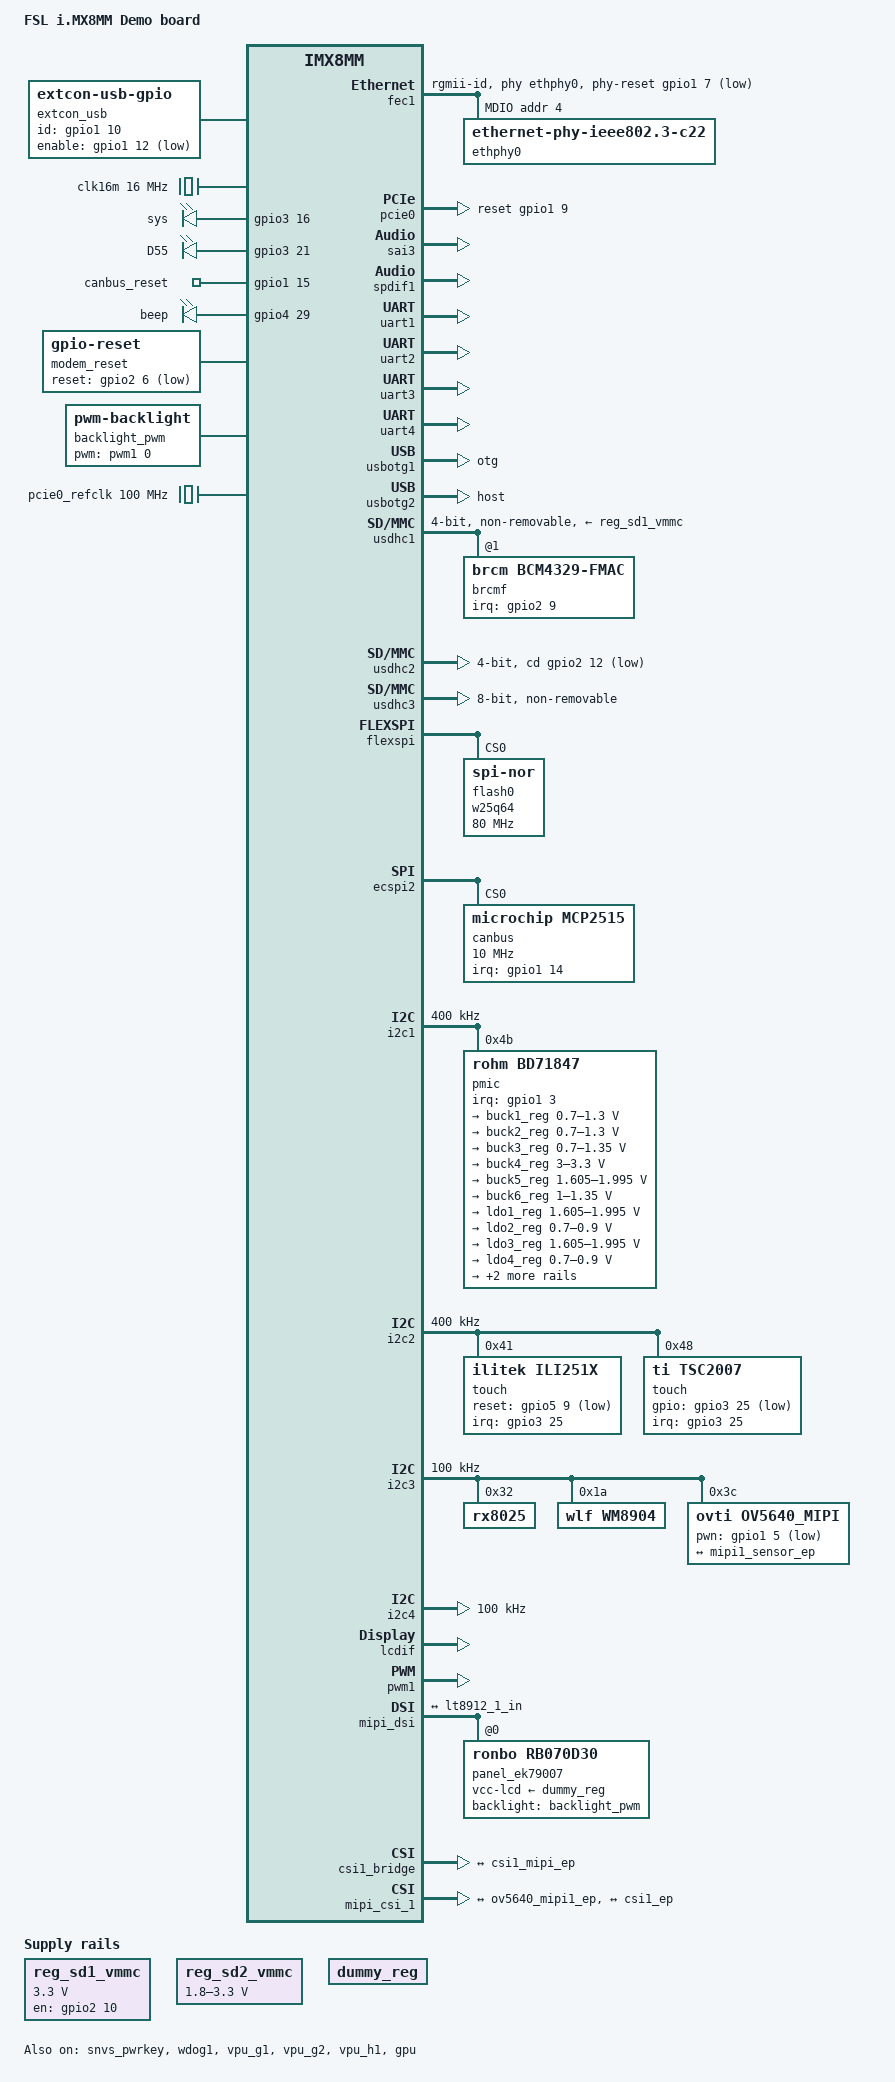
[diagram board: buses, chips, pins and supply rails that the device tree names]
// SPDX-License-Identifier: (GPL-2.0+ OR MIT)
/*
 * Copyright 2019 NXP
 */

/dts-v1/;

#include <dt-bindings/usb/pd.h>
#include "imx8mm.dtsi"

/ {
	model = "FSL i.MX8MM Demo board";
	compatible = "fsl,imx8mm-evk", "fsl,imx8mm";

	reserved-memory {
		#address-cells = <2>;
		#size-cells = <2>;
		ranges;

		rpmsg_reserved: rpmsg@0xb8000000 {
			no-map;
			reg = <0 0xb8000000 0 0x400000>;
		};
	};

	chosen {
		stdout-path = &uart2;
	};

	extcon_usb: extcon_usb1otg {
		compatible = "linux,extcon-usb-gpio";
		pinctrl-names = "default";
		pinctrl-0 = <&pinctrl_extcon_usb>;
		id-gpio = <&gpio1 10 GPIO_ACTIVE_HIGH>;
		enable-gpio = <&gpio1 12 GPIO_ACTIVE_LOW>;
	};

	clk16m: clk16m {
		compatible = "fixed-clock";
		#clock-cells = <0>;
		clock-frequency = <16000000>;
	};

	leds {
		compatible = "gpio-leds";
		pinctrl-names = "default";
		pinctrl-0 = <&pinctrl_gpio_led>;

		sys {
			label = "sys";
			gpios = <&gpio3 16 GPIO_ACTIVE_HIGH>;
			linux,default-trigger = "heartbeat";
		};

		D55 {
			label = "D55";
			gpios = <&gpio3 21 GPIO_ACTIVE_HIGH>;
			linux,default-trigger = "none";
		};

		canbus_reset {
			label = "canbus_reset";
			gpios = <&gpio1 15 GPIO_ACTIVE_HIGH>;
			default-state = "on";
		};

		beep {
			label = "beep";
			gpios = <&gpio4 29 GPIO_ACTIVE_HIGH>;
			default-state = "off";
		};
	};

	modem_reset: modem-reset {
		compatible = "gpio-reset";
		reset-gpios = <&gpio2 6 GPIO_ACTIVE_LOW>;
		reset-delay-us = <2000>;
		reset-post-delay-ms = <40>;
		#reset-cells = <0>;
	};

	regulators {
		compatible = "simple-bus";
		#address-cells = <1>;
		#size-cells = <0>;

		reg_sd1_vmmc: sd1_regulator {
			compatible = "regulator-fixed";
			regulator-name = "WLAN_EN";
			regulator-min-microvolt = <3300000>;
			regulator-max-microvolt = <3300000>;
			gpio = <&gpio2 10 GPIO_ACTIVE_HIGH>;
			off-on-delay = <20000>;
			startup-delay-us = <100>;
			enable-active-high;
		};

		reg_sd2_vmmc: sd2_regulator {
			compatible = "regulator-fixed";
			regulator-name = "NVCC_SD2";
			regulator-min-microvolt = <1800000>;
			regulator-max-microvolt = <3300000>;
		};

		dummy_reg: dummy_regulator {
			compatible = "regulator-fixed";
			regulator-name = "dummy";
		};
	};

	backlight_pwm: backlight {
		compatible = "pwm-backlight";
		pwms = <&pwm1 0 500000 0>;
		brightness-levels = <0 1 8 32 64 96 128 160 192 224 255>;
		default-brightness-level = <8>;
	};

	sound-wm8904 {
		compatible = "fsl,imx-audio-wm8904";
		model = "wm8904-audio";
		cpu-dai = <&sai3>;
		audio-codec = <&wm8904>;
		asrc-controller;
		gpr = <&gpr>;
		audio-routing =
			"Headphone Jack", "HPOUTL",
			"Headphone Jack", "HPOUTR",
			"IN2L", "Line In Jack",
			"IN2R", "Line In Jack",
			"Mic Jack", "MICBIAS",
			"IN1L", "Mic Jack";
	};

	sound-spdif {
		compatible = "fsl,imx-audio-spdif";
		model = "imx-spdif";
		spdif-controller = <&spdif1>;
		spdif-out;
		spdif-in;
	};

	pcie0_refclk: pcie0-refclk {
		compatible = "fixed-clock";
		#clock-cells = <0>;
		clock-frequency = <100000000>;
	};
};

&A53_0 {
	cpu-supply = <&buck2_reg>;
};

&fec1 {
	pinctrl-names = "default";
	pinctrl-0 = <&pinctrl_fec1>;
	phy-mode = "rgmii-id";
	phy-handle = <&ethphy0>;
	phy-reset-gpios = <&gpio1 7 GPIO_ACTIVE_LOW>;
	phy-reset-post-delay = <300>;
	phy-reset-duration = <80>;
	fsl,magic-packet;
	status = "okay";

	mdio {
		#address-cells = <1>;
		#size-cells = <0>;

		ethphy0: ethernet-phy@4 {
			compatible = "ethernet-phy-ieee802.3-c22";
			reg = <4>;
			at803x,eee-disabled;
			at803x,vddio-1p8v;
		};
	};
};

&pcie0 {
	pinctrl-names = "default";
	pinctrl-0 = <&pinctrl_pcie0>;
	clkreq-gpio = <&gpio3 24 GPIO_ACTIVE_LOW>;
	disable-gpio = <&gpio1 8 GPIO_ACTIVE_LOW>;
	reset-gpio = <&gpio1 9 GPIO_ACTIVE_HIGH>;
	reset-gpio-active-high;
	clocks = <&clk IMX8MM_CLK_PCIE1_ROOT>,
		 <&clk IMX8MM_CLK_PCIE1_AUX>,
		 <&clk IMX8MM_CLK_PCIE1_PHY>,
		 <&pcie0_refclk>;
	clock-names = "pcie", "pcie_aux", "pcie_phy", "pcie_bus";
	ext_osc = <1>;
	reserved-region = <&rpmsg_reserved>;
	status = "okay";
};

&sai3 {
	pinctrl-names = "default";
	pinctrl-0 = <&pinctrl_sai3>;
	assigned-clocks = <&clk IMX8MM_CLK_SAI3>;
	assigned-clock-parents = <&clk IMX8MM_AUDIO_PLL1_OUT>;
	assigned-clock-rates = <24576000>;
	status = "okay";
};

&spdif1 {
	pinctrl-names = "default";
	pinctrl-0 = <&pinctrl_spdif1>;
	assigned-clocks = <&clk IMX8MM_CLK_SPDIF1>;
	assigned-clock-parents = <&clk IMX8MM_AUDIO_PLL1_OUT>;
	assigned-clock-rates = <24576000>;
	clocks = <&clk IMX8MM_CLK_AUDIO_AHB>, <&clk IMX8MM_CLK_24M>,
		<&clk IMX8MM_CLK_SPDIF1>, <&clk IMX8MM_CLK_DUMMY>,
		<&clk IMX8MM_CLK_DUMMY>, <&clk IMX8MM_CLK_DUMMY>,
		<&clk IMX8MM_CLK_AUDIO_AHB>, <&clk IMX8MM_CLK_DUMMY>,
		<&clk IMX8MM_CLK_DUMMY>, <&clk IMX8MM_CLK_DUMMY>,
		<&clk IMX8MM_AUDIO_PLL1_OUT>, <&clk IMX8MM_AUDIO_PLL2_OUT>;
	clock-names = "core", "rxtx0", "rxtx1", "rxtx2", "rxtx3",
		"rxtx4", "rxtx5", "rxtx6", "rxtx7", "spba", "pll8k", "pll11k";
	status = "okay";
};

&snvs_pwrkey {
	status = "okay";
};

&uart1 { /* BT */
	pinctrl-names = "default";
	pinctrl-0 = <&pinctrl_uart1>;
	assigned-clocks = <&clk IMX8MM_CLK_UART1>;
	assigned-clock-parents = <&clk IMX8MM_SYS_PLL1_80M>;
	fsl,uart-has-rtscts;
	resets = <&modem_reset>;
	status = "okay";
};

&uart2 { /* console */
	pinctrl-names = "default";
	pinctrl-0 = <&pinctrl_uart2>;
	status = "okay";
};

&uart3 {
	pinctrl-names = "default";
	pinctrl-0 = <&pinctrl_uart3>;
	assigned-clocks = <&clk IMX8MM_CLK_UART3>;
	assigned-clock-parents = <&clk IMX8MM_SYS_PLL1_80M>;
	fsl,uart-has-rtscts;
	status = "okay";
};

&uart4 {
	pinctrl-names = "default";
	pinctrl-0 = <&pinctrl_uart4>;
	/delete-property/ dmas;
	/delete-property/ dmas-names;
	status = "okay";
};

&usbotg1 {
	dr_mode = "otg";
	extcon = <&extcon_usb>;
	picophy,pre-emp-curr-control = <3>;
	picophy,dc-vol-level-adjust = <7>;
	status = "okay";
};

&usbotg2 {
	dr_mode = "host";
	status = "okay";
};

/* WIFI SDIO */
&usdhc1 {
	pinctrl-names = "default", "state_100mhz", "state_200mhz";
	pinctrl-0 = <&pinctrl_usdhc1>, <&pinctrl_usdhc1_gpio>;
	pinctrl-1 = <&pinctrl_usdhc1_100mhz>, <&pinctrl_usdhc1_gpio>;
	pinctrl-2 = <&pinctrl_usdhc1_200mhz>, <&pinctrl_usdhc1_gpio>;
	bus-width = <4>;
	vmmc-supply = <&reg_sd1_vmmc>;
	pm-ignore-notify;
	keep-power-in-suspend;
	non-removable;
	status = "okay";

	#address-cells = <1>;
	#size-cells = <0>;
	brcmf: bcrmf@1 {
		reg = <1>;
		compatible = "brcm,bcm4329-fmac";
		interrupt-parent = <&gpio2>;
		interrupts = <9 IRQ_TYPE_LEVEL_LOW>;
		interrupt-names = "host-wake";
	};
};

/* microSD */
&usdhc2 {
	pinctrl-names = "default";	/* "state_100mhz", "state_200mhz"; */
	pinctrl-0 = <&pinctrl_usdhc2>, <&pinctrl_usdhc2_gpio>;
	/*
	pinctrl-1 = <&pinctrl_usdhc2_100mhz>, <&pinctrl_usdhc2_gpio>;
	pinctrl-2 = <&pinctrl_usdhc2_200mhz>, <&pinctrl_usdhc2_gpio>;
	*/
	cd-gpios = <&gpio2 12 GPIO_ACTIVE_LOW>;
	bus-width = <4>;
	status = "okay";
};

/* eMMC */
&usdhc3 {
	pinctrl-names = "default", "state_100mhz", "state_200mhz";
	pinctrl-0 = <&pinctrl_usdhc3>;
	pinctrl-1 = <&pinctrl_usdhc3_100mhz>;
	pinctrl-2 = <&pinctrl_usdhc3_200mhz>;
	bus-width = <8>;
	non-removable;
	status = "okay";
};

&wdog1 {
	pinctrl-names = "default";
	pinctrl-0 = <&pinctrl_wdog>;
	fsl,ext-reset-output;
	status = "okay";
};

&flexspi {
	pinctrl-names = "default";
	pinctrl-0 = <&pinctrl_flexspi0>;
	status = "okay";

	flash0: w25q64@0 {
		reg = <0>;
		#address-cells = <1>;
		#size-cells = <1>;
		compatible = "jedec,spi-nor";
		spi-max-frequency = <80000000>;
		spi-tx-bus-width = <4>;
		spi-rx-bus-width = <4>;
	};
};

&ecspi2 {
	pinctrl-names = "default";
	pinctrl-0 = <&pinctrl_ecspi2>;
	status = "okay";

	canbus: mcp2515@0 {
		compatible = "microchip,mcp2515";
		pinctrl-names = "default";
		pinctrl-0 = <&pinctrl_canbus>;
		reg = <0>;
		clocks = <&clk16m>;
		interrupt-parent = <&gpio1>;
		interrupts = <14 IRQ_TYPE_EDGE_FALLING>;
		spi-max-frequency = <10000000>;
		status = "okay";
	};
};

&i2c1 {
	clock-frequency = <400000>;
	pinctrl-names = "default";
	pinctrl-0 = <&pinctrl_i2c1>;
	status = "okay";

	pmic@4b {
		compatible = "rohm,bd71847";
		reg = <0x4b>;
		pinctrl-0 = <&pinctrl_pmic>;
		interrupt-parent = <&gpio1>;
		interrupts = <3 GPIO_ACTIVE_LOW>;
		rohm,reset-snvs-powered;

		regulators {
			buck1_reg: BUCK1 {
				regulator-name = "BUCK1";
				regulator-min-microvolt = <700000>;
				regulator-max-microvolt = <1300000>;
				regulator-boot-on;
				regulator-always-on;
				regulator-ramp-delay = <1250>;
			};

			buck2_reg: BUCK2 {
				regulator-name = "BUCK2";
				regulator-min-microvolt = <700000>;
				regulator-max-microvolt = <1300000>;
				regulator-boot-on;
				regulator-always-on;
				regulator-ramp-delay = <1250>;
				rohm,dvs-run-voltage = <1000000>;
				rohm,dvs-idle-voltage = <900000>;
			};

			buck3_reg: BUCK3 {
				// BUCK5 in datasheet
				regulator-name = "BUCK3";
				regulator-min-microvolt = <700000>;
				regulator-max-microvolt = <1350000>;
				regulator-boot-on;
				regulator-always-on;
			};

			buck4_reg: BUCK4 {
				// BUCK6 in datasheet
				regulator-name = "BUCK4";
				regulator-min-microvolt = <3000000>;
				regulator-max-microvolt = <3300000>;
				regulator-boot-on;
				regulator-always-on;
			};

			buck5_reg: BUCK5 {
				// BUCK7 in datasheet
				regulator-name = "BUCK5";
				regulator-min-microvolt = <1605000>;
				regulator-max-microvolt = <1995000>;
				regulator-boot-on;
				regulator-always-on;
			};

			buck6_reg: BUCK6 {
				// BUCK8 in datasheet
				regulator-name = "BUCK6";
				regulator-min-microvolt = <1000000>;
				regulator-max-microvolt = <1350000>;
				regulator-boot-on;
				regulator-always-on;
			};

			ldo1_reg: LDO1 {
				regulator-name = "LDO1";
				regulator-min-microvolt = <1605000>;
				regulator-max-microvolt = <1995000>;
				regulator-boot-on;
				regulator-always-on;
			};

			ldo2_reg: LDO2 {
				regulator-name = "LDO2";
				regulator-min-microvolt = <700000>;
				regulator-max-microvolt = <900000>;
				regulator-boot-on;
				regulator-always-on;
			};

			ldo3_reg: LDO3 {
				regulator-name = "LDO3";
				regulator-min-microvolt = <1605000>;
				regulator-max-microvolt = <1995000>;
				regulator-boot-on;
				regulator-always-on;
			};

			ldo4_reg: LDO4 {
				regulator-name = "LDO4";
				regulator-min-microvolt = <700000>;
				regulator-max-microvolt = <900000>;
				regulator-boot-on;
				regulator-always-on;
			};

			ldo5_reg: LDO5 {
				regulator-name = "LDO5";
				regulator-min-microvolt = <2400000>;
				regulator-max-microvolt = <2600000>;
				regulator-boot-on;
				regulator-always-on;
			};

			ldo6_reg: LDO6 {
				regulator-name = "LDO6";
				regulator-min-microvolt = <1100000>;
				regulator-max-microvolt = <1300000>;
				regulator-boot-on;
				regulator-always-on;
			};
		};
	};
};

&i2c2 {
	clock-frequency = <400000>;
	pinctrl-names = "default";
	pinctrl-0 = <&pinctrl_i2c2>;
	status = "okay";

	touch@41 {
		compatible = "ilitek,ili251x";
		reg = <0x41>;
		pinctrl-names = "default";
		pinctrl-0 = <&pinctrl_touch>;
		reset-gpio = <&gpio5 9 GPIO_ACTIVE_LOW>;
		interrupt-parent = <&gpio3>;
		interrupts = <25 IRQ_TYPE_EDGE_FALLING>;
		interrupt-names = "touch-irq";
		status = "okay";
	};

	touch@48 {
		compatible = "ti,tsc2007";
		reg = <0x48>;
		pinctrl-names = "default";
		pinctrl-0 = <&pinctrl_touch>;
		interrupt-parent = <&gpio3>;
		interrupts = <25 IRQ_TYPE_NONE>;
		gpios = <&gpio3 25 GPIO_ACTIVE_LOW>;
		ti,x-plate-ohms = <660>;
		status = "okay";
	};
};

&snvs_rtc {
	status = "disabled";
};

&i2c3 {
	clock-frequency = <100000>;
	pinctrl-names = "default";
	pinctrl-0 = <&pinctrl_i2c3>;
	status = "okay";

	rx8025: rtc@32 {
		compatible = "rx8025";
		reg = <0x32>;
	};

	wm8904: wm8904@1a {
		compatible = "wlf,wm8904";
		reg = <0x1a>;
		clocks = <&clk IMX8MM_CLK_SAI3_ROOT>;
		clock-names = "mclk";
	};

	ov5640_mipi: ov5640_mipi@3c {
		compatible = "ovti,ov5640_mipi";
		reg = <0x3c>;
		status = "okay";
		pinctrl-names = "default";
		pinctrl-0 = <&pinctrl_csi_pwn>;
		clocks = <&clk IMX8MM_CLK_CLKO1>;
		clock-names = "csi_mclk";
		assigned-clocks = <&clk IMX8MM_CLK_CLKO1>;
		assigned-clock-parents = <&clk IMX8MM_CLK_24M>;
		assigned-clock-rates = <24000000>;
		csi_id = <0>;
		pwn-gpios = <&gpio1 5 GPIO_ACTIVE_LOW>;
		mclk = <24000000>;
		mclk_source = <0>;
		port {
			ov5640_mipi1_ep: endpoint {
				remote-endpoint = <&mipi1_sensor_ep>;
			};
		};
	};
};

&i2c4 {
	clock-frequency = <100000>;
	pinctrl-names = "default";
	pinctrl-0 = <&pinctrl_i2c4>;
	status = "okay";

	hdmi_bridge: lt8912b@48 {
		#address-cells = <1>;
		#size-cells = <0>;
		compatible = "lontium,lt8912";
		reg = <0x48>;
		lontium,dsi-lanes = <4>;
		vdd1-supply = <&dummy_reg>;
		no-hpd;
		no-edid;
		status = "disabled";

		port {
			lt8912_1_in: endpoint {
				remote-endpoint = <&mipi_dsi_hdmi_out>;
			};
		};

		display_timings: display-timings {
			native-mode = <&timing0>;

			/* 1920 * 1080 MIPI */
			timing0: 1920x1080 {
				clock-frequency = <148500000>;
				hactive = <1920>;
				vactive = <1080>;
				hfront-porch = <88>;
				hsync-len = <44>;
				hback-porch = <148>;
				vfront-porch = <36>;
				vsync-len = <5>;
				vback-porch = <4>;
				hsync-active = <0>;
				vsync-active = <0>;
				de-active = <0>;
				pixelclk-active = <0>;
			};

			/* 1280 * 720 MIPI */
			timing1: 1280x720 {
				clock-frequency = <74250000>;
				hactive = <1280>;
				vactive = <720>;
				hfront-porch = <110>;
				hsync-len = <40>;
				hback-porch = <220>;
				vfront-porch = <5>;
				vsync-len = <5>;
				vback-porch = <20>;
				hsync-active = <0>;
				vsync-active = <0>;
				de-active = <0>;
				pixelclk-active = <0>;
			};

			/* 1280 * 800 MIPI */
			timing2: 1280x800 {
				clock-frequency = <71000000>;
				hactive = <1280>;
				vactive = <800>;
				hfront-porch = <48>;
				hsync-len = <32>;
				hback-porch = <80>;
				vfront-porch = <3>;
				vsync-len = <6>;
				vback-porch = <14>;
				hsync-active = <0>;
				vsync-active = <0>;
				de-active = <0>;
				pixelclk-active = <0>;
			};

			timing3: 1024x600 {
				clock-frequency = <51250000>;
				hactive = <1024>;
				vactive = <600>;
				hfront-porch = <160>;
				hsync-len = <20>;
				hback-porch = <140>;
				vfront-porch = <12>;
				vsync-len = <3>;
				vback-porch = <20>;
				hsync-active = <0>;
				vsync-active = <0>;
				de-active = <0>;
				pixelclk-active = <0>;
			};

			/* 1280 * 800 LVDS[VISLCD-101WX1RT13] */
			timing4: 1280x800-VISLCD-101WX1R {
				clock-frequency = <55000000>;
				hactive = <1280>;
				vactive = <800>;
				hfront-porch = <25>;
				hsync-len = <20>;
				hback-porch = <5>;
				vfront-porch = <6>;
				vsync-len = <3>;
				vback-porch = <3>;
				hsync-active = <0>;
				vsync-active = <0>;
				de-active = <0>;
				pixelclk-active = <0>;
			};
		};
	};
};

&iomuxc {
	pinctrl-names = "default";
	pinctrl-0 = <&pinctrl_default>;

	pinctrl_default: default {
		fsl,pins = <
			MX8MM_IOMUXC_SAI5_RXD2_GPIO3_IO23				0x19	/* DI0 */
			MX8MM_IOMUXC_SAI5_RXC_GPIO3_IO20				0x19	/* DI1 */
			MX8MM_IOMUXC_SAI5_RXFS_GPIO3_IO19				0x19	/* DO0 */
			MX8MM_IOMUXC_SAI5_RXD1_GPIO3_IO22				0x19	/* DO1 */
		>;
	};

	pinctrl_fec1: fec1grp {
		fsl,pins = <
			MX8MM_IOMUXC_ENET_MDC_ENET1_MDC				0x3
			MX8MM_IOMUXC_ENET_MDIO_ENET1_MDIO			0x3
			MX8MM_IOMUXC_ENET_TD3_ENET1_RGMII_TD3		0x1f
			MX8MM_IOMUXC_ENET_TD2_ENET1_RGMII_TD2		0x1f
			MX8MM_IOMUXC_ENET_TD1_ENET1_RGMII_TD1		0x1f
			MX8MM_IOMUXC_ENET_TD0_ENET1_RGMII_TD0		0x1f
			MX8MM_IOMUXC_ENET_RD3_ENET1_RGMII_RD3		0x91
			MX8MM_IOMUXC_ENET_RD2_ENET1_RGMII_RD2		0x91
			MX8MM_IOMUXC_ENET_RD1_ENET1_RGMII_RD1		0x91
			MX8MM_IOMUXC_ENET_RD0_ENET1_RGMII_RD0		0x91
			MX8MM_IOMUXC_ENET_TXC_ENET1_RGMII_TXC		0x1f
			MX8MM_IOMUXC_ENET_RXC_ENET1_RGMII_RXC		0x91
			MX8MM_IOMUXC_ENET_RX_CTL_ENET1_RGMII_RX_CTL	0x91
			MX8MM_IOMUXC_ENET_TX_CTL_ENET1_RGMII_TX_CTL	0x1f
			MX8MM_IOMUXC_GPIO1_IO07_GPIO1_IO7			0x19
		>;
	};

	pinctrl_flexspi0: flexspi0grp {
		fsl,pins = <
			MX8MM_IOMUXC_NAND_ALE_QSPI_A_SCLK          	0x1c2
			MX8MM_IOMUXC_NAND_CE0_B_QSPI_A_SS0_B       	0x82
			MX8MM_IOMUXC_NAND_DATA00_QSPI_A_DATA0      	0x82
			MX8MM_IOMUXC_NAND_DATA01_QSPI_A_DATA1      	0x82
			MX8MM_IOMUXC_NAND_DATA02_QSPI_A_DATA2      	0x82
			MX8MM_IOMUXC_NAND_DATA03_QSPI_A_DATA3      	0x82
		>;
	};

	pinctrl_ecspi2: ecspi2grp {
		fsl,pins = <
			MX8MM_IOMUXC_ECSPI2_SS0_ECSPI2_SS0			0x82
			MX8MM_IOMUXC_ECSPI2_MOSI_ECSPI2_MOSI		0x82
			MX8MM_IOMUXC_ECSPI2_MISO_ECSPI2_MISO		0x82
			MX8MM_IOMUXC_ECSPI2_SCLK_ECSPI2_SCLK		0x82
		>;
	};

	pinctrl_canbus: canbusgrp {
		fsl,pins = <
			MX8MM_IOMUXC_GPIO1_IO14_GPIO1_IO14			0x14
		>;
	};

	pinctrl_gpio_led: gpioledgrp {
		fsl,pins = <
			MX8MM_IOMUXC_NAND_READY_B_GPIO3_IO16		0x19
			MX8MM_IOMUXC_SAI5_RXD0_GPIO3_IO21			0x19
			MX8MM_IOMUXC_GPIO1_IO15_GPIO1_IO15			0x19	/* canbus_reset */
			MX8MM_IOMUXC_SAI3_RXC_GPIO4_IO29			0x19	/* beep */
		>;
	};

	pinctrl_extcon_usb: extconusbgrp {
		fsl,pins = <
			MX8MM_IOMUXC_GPIO1_IO10_GPIO1_IO10			0x140	/* otg_id */
			MX8MM_IOMUXC_GPIO1_IO12_GPIO1_IO12			0x19	/* otg_vbus */
		>;
	};

	pinctrl_i2c1: i2c1grp {
		fsl,pins = <
			MX8MM_IOMUXC_I2C1_SCL_I2C1_SCL				0x400001c3
			MX8MM_IOMUXC_I2C1_SDA_I2C1_SDA				0x400001c3
		>;
	};

	pinctrl_i2c2: i2c2grp {
		fsl,pins = <
			MX8MM_IOMUXC_I2C2_SCL_I2C2_SCL				0x400001c3
			MX8MM_IOMUXC_I2C2_SDA_I2C2_SDA				0x400001c3
		>;
	};

	pinctrl_i2c3: i2c3grp {
		fsl,pins = <
			MX8MM_IOMUXC_I2C3_SCL_I2C3_SCL				0x400001c3
			MX8MM_IOMUXC_I2C3_SDA_I2C3_SDA				0x400001c3
		>;
	};

	pinctrl_i2c4: i2c4grp {
		fsl,pins = <
			MX8MM_IOMUXC_I2C4_SCL_I2C4_SCL				0x400001c3
			MX8MM_IOMUXC_I2C4_SDA_I2C4_SDA				0x400001c3
		>;
	};

	pinctrl_touch: touchgrp {
		fsl,pins = <
			MX8MM_IOMUXC_ECSPI1_SS0_GPIO5_IO9			0x19
			MX8MM_IOMUXC_SAI5_MCLK_GPIO3_IO25			0x19
		>;
	};

	pinctrl_pwm1: pwm1grp {
		fsl,pins = <
			MX8MM_IOMUXC_SPDIF_EXT_CLK_PWM1_OUT			0x19
		>;
	};

	pinctrl_pcie0: pcie0grp {
		fsl,pins = <
			MX8MM_IOMUXC_SAI5_RXD3_GPIO3_IO24			0x61 /* open drain, pull up */
			MX8MM_IOMUXC_GPIO1_IO08_GPIO1_IO8			0x19
			MX8MM_IOMUXC_GPIO1_IO09_GPIO1_IO9			0x19
		>;
	};

	pinctrl_pmic: pmicirq {
		fsl,pins = <
			MX8MM_IOMUXC_GPIO1_IO03_GPIO1_IO3			0x41
		>;
	};

	pinctrl_sai3: sai3grp {
		fsl,pins = <
			MX8MM_IOMUXC_SAI3_TXFS_SAI3_TX_SYNC     	0xd6
			MX8MM_IOMUXC_SAI3_TXC_SAI3_TX_BCLK      	0xd6
			MX8MM_IOMUXC_SAI3_MCLK_SAI3_MCLK        	0xd6
			MX8MM_IOMUXC_SAI3_TXD_SAI3_TX_DATA0     	0xd6
			MX8MM_IOMUXC_SAI3_RXD_SAI3_RX_DATA0			0xd6
		>;
	};

	pinctrl_spdif1: spdif1grp {
		fsl,pins = <
			MX8MM_IOMUXC_SPDIF_TX_SPDIF1_OUT			0xd6
		>;
	};

	pinctrl_uart1: uart1grp {
		fsl,pins = <
			MX8MM_IOMUXC_UART1_RXD_UART1_DCE_RX			0x140
			MX8MM_IOMUXC_UART1_TXD_UART1_DCE_TX			0x140
			MX8MM_IOMUXC_UART3_RXD_UART1_DCE_CTS_B		0x140
			MX8MM_IOMUXC_UART3_TXD_UART1_DCE_RTS_B		0x140
			MX8MM_IOMUXC_SD1_DATA4_GPIO2_IO6			0x19
		>;
	};

	pinctrl_uart2: uart2grp {
		fsl,pins = <
			MX8MM_IOMUXC_UART2_RXD_UART2_DCE_RX			0x140
			MX8MM_IOMUXC_UART2_TXD_UART2_DCE_TX			0x140
		>;
	};

	pinctrl_uart3: uart3grp {
		fsl,pins = <
			MX8MM_IOMUXC_ECSPI1_SCLK_UART3_DCE_RX		0x140
			MX8MM_IOMUXC_ECSPI1_MOSI_UART3_DCE_TX		0x140
			MX8MM_IOMUXC_ECSPI1_MISO_UART3_DCE_CTS_B	0x140
		>;
	};

	pinctrl_uart4: uart4grp {
		fsl,pins = <
			MX8MM_IOMUXC_UART4_RXD_UART4_DCE_RX			0x140
			MX8MM_IOMUXC_UART4_TXD_UART4_DCE_TX			0x140
		>;
	};

	pinctrl_usdhc1_gpio: usdhc1grpgpio {
		fsl,pins = <
			MX8MM_IOMUXC_SD1_RESET_B_GPIO2_IO10			0x41	/* wl_reg_on */
			MX8MM_IOMUXC_SD1_DATA7_GPIO2_IO9			0x41	/* wl_host_wake */
			MX8MM_IOMUXC_GPIO1_IO00_ANAMIX_REF_CLK_32K	0x141	/* LP0: 32KHz */
		>;
	};

	pinctrl_usdhc1: usdhc1grp {
		fsl,pins = <
			MX8MM_IOMUXC_SD1_CLK_USDHC1_CLK				0x190
			MX8MM_IOMUXC_SD1_CMD_USDHC1_CMD				0x1d0
			MX8MM_IOMUXC_SD1_DATA0_USDHC1_DATA0			0x1d0
			MX8MM_IOMUXC_SD1_DATA1_USDHC1_DATA1			0x1d0
			MX8MM_IOMUXC_SD1_DATA2_USDHC1_DATA2			0x1d0
			MX8MM_IOMUXC_SD1_DATA3_USDHC1_DATA3			0x1d0
		>;
	};

	pinctrl_usdhc1_100mhz: usdhc1grp100mhz {
		fsl,pins = <
			MX8MM_IOMUXC_SD1_CLK_USDHC1_CLK		0x194
			MX8MM_IOMUXC_SD1_CMD_USDHC1_CMD		0x1d4
			MX8MM_IOMUXC_SD1_DATA0_USDHC1_DATA0	0x1d4
			MX8MM_IOMUXC_SD1_DATA1_USDHC1_DATA1	0x1d4
			MX8MM_IOMUXC_SD1_DATA2_USDHC1_DATA2	0x1d4
			MX8MM_IOMUXC_SD1_DATA3_USDHC1_DATA3	0x1d4
		>;
	};

	pinctrl_usdhc1_200mhz: usdhc1grp200mhz {
		fsl,pins = <
			MX8MM_IOMUXC_SD1_CLK_USDHC1_CLK		0x196
			MX8MM_IOMUXC_SD1_CMD_USDHC1_CMD		0x1d6
			MX8MM_IOMUXC_SD1_DATA0_USDHC1_DATA0	0x1d6
			MX8MM_IOMUXC_SD1_DATA1_USDHC1_DATA1	0x1d6
			MX8MM_IOMUXC_SD1_DATA2_USDHC1_DATA2	0x1d6
			MX8MM_IOMUXC_SD1_DATA3_USDHC1_DATA3	0x1d6
		>;
	};

	pinctrl_usdhc2_gpio: usdhc2grpgpio {
		fsl,pins = <
			MX8MM_IOMUXC_SD2_CD_B_GPIO2_IO12			0x1c4
		>;
	};

	pinctrl_usdhc2: usdhc2grp {
		fsl,pins = <
			MX8MM_IOMUXC_SD2_CLK_USDHC2_CLK		0x190
			MX8MM_IOMUXC_SD2_CMD_USDHC2_CMD		0x1d0
			MX8MM_IOMUXC_SD2_DATA0_USDHC2_DATA0	0x1d0
			MX8MM_IOMUXC_SD2_DATA1_USDHC2_DATA1	0x1d0
			MX8MM_IOMUXC_SD2_DATA2_USDHC2_DATA2	0x1d0
			MX8MM_IOMUXC_SD2_DATA3_USDHC2_DATA3	0x1d0
		>;
	};

	pinctrl_usdhc2_100mhz: usdhc2grp100mhz {
		fsl,pins = <
			MX8MM_IOMUXC_SD2_CLK_USDHC2_CLK		0x194
			MX8MM_IOMUXC_SD2_CMD_USDHC2_CMD		0x1d4
			MX8MM_IOMUXC_SD2_DATA0_USDHC2_DATA0	0x1d4
			MX8MM_IOMUXC_SD2_DATA1_USDHC2_DATA1	0x1d4
			MX8MM_IOMUXC_SD2_DATA2_USDHC2_DATA2	0x1d4
			MX8MM_IOMUXC_SD2_DATA3_USDHC2_DATA3	0x1d4
		>;
	};

	pinctrl_usdhc2_200mhz: usdhc2grp200mhz {
		fsl,pins = <
			MX8MM_IOMUXC_SD2_CLK_USDHC2_CLK		0x196
			MX8MM_IOMUXC_SD2_CMD_USDHC2_CMD		0x1d6
			MX8MM_IOMUXC_SD2_DATA0_USDHC2_DATA0	0x1d6
			MX8MM_IOMUXC_SD2_DATA1_USDHC2_DATA1	0x1d6
			MX8MM_IOMUXC_SD2_DATA2_USDHC2_DATA2	0x1d6
			MX8MM_IOMUXC_SD2_DATA3_USDHC2_DATA3	0x1d6
		>;
	};

	pinctrl_usdhc3: usdhc3grp {
		fsl,pins = <
			MX8MM_IOMUXC_NAND_WE_B_USDHC3_CLK		0x190
			MX8MM_IOMUXC_NAND_WP_B_USDHC3_CMD		0x1d0
			MX8MM_IOMUXC_NAND_DATA04_USDHC3_DATA0		0x1d0
			MX8MM_IOMUXC_NAND_DATA05_USDHC3_DATA1		0x1d0
			MX8MM_IOMUXC_NAND_DATA06_USDHC3_DATA2		0x1d0
			MX8MM_IOMUXC_NAND_DATA07_USDHC3_DATA3		0x1d0
			MX8MM_IOMUXC_NAND_RE_B_USDHC3_DATA4		0x1d0
			MX8MM_IOMUXC_NAND_CE2_B_USDHC3_DATA5		0x1d0
			MX8MM_IOMUXC_NAND_CE3_B_USDHC3_DATA6		0x1d0
			MX8MM_IOMUXC_NAND_CLE_USDHC3_DATA7		0x1d0
			MX8MM_IOMUXC_NAND_CE1_B_USDHC3_STROBE 		0x190
		>;
	};

	pinctrl_usdhc3_100mhz: usdhc3grp100mhz {
		fsl,pins = <
			MX8MM_IOMUXC_NAND_WE_B_USDHC3_CLK		0x194
			MX8MM_IOMUXC_NAND_WP_B_USDHC3_CMD		0x1d4
			MX8MM_IOMUXC_NAND_DATA04_USDHC3_DATA0		0x1d4
			MX8MM_IOMUXC_NAND_DATA05_USDHC3_DATA1		0x1d4
			MX8MM_IOMUXC_NAND_DATA06_USDHC3_DATA2		0x1d4
			MX8MM_IOMUXC_NAND_DATA07_USDHC3_DATA3		0x1d4
			MX8MM_IOMUXC_NAND_RE_B_USDHC3_DATA4		0x1d4
			MX8MM_IOMUXC_NAND_CE2_B_USDHC3_DATA5		0x1d4
			MX8MM_IOMUXC_NAND_CE3_B_USDHC3_DATA6		0x1d4
			MX8MM_IOMUXC_NAND_CLE_USDHC3_DATA7		0x1d4
			MX8MM_IOMUXC_NAND_CE1_B_USDHC3_STROBE 		0x194
		>;
	};

	pinctrl_usdhc3_200mhz: usdhc3grp200mhz {
		fsl,pins = <
			MX8MM_IOMUXC_NAND_WE_B_USDHC3_CLK		0x196
			MX8MM_IOMUXC_NAND_WP_B_USDHC3_CMD		0x1d6
			MX8MM_IOMUXC_NAND_DATA04_USDHC3_DATA0		0x1d6
			MX8MM_IOMUXC_NAND_DATA05_USDHC3_DATA1		0x1d6
			MX8MM_IOMUXC_NAND_DATA06_USDHC3_DATA2		0x1d6
			MX8MM_IOMUXC_NAND_DATA07_USDHC3_DATA3		0x1d6
			MX8MM_IOMUXC_NAND_RE_B_USDHC3_DATA4		0x1d6
			MX8MM_IOMUXC_NAND_CE2_B_USDHC3_DATA5		0x1d6
			MX8MM_IOMUXC_NAND_CE3_B_USDHC3_DATA6		0x1d6
			MX8MM_IOMUXC_NAND_CLE_USDHC3_DATA7		0x1d6
			MX8MM_IOMUXC_NAND_CE1_B_USDHC3_STROBE 		0x196
		>;
	};

	pinctrl_wdog: wdoggrp {
		fsl,pins = <
			MX8MM_IOMUXC_GPIO1_IO02_WDOG1_WDOG_B			0xc6
		>;
	};

	pinctrl_csi_pwn: csi_pwn_grp {
		fsl,pins = <
			MX8MM_IOMUXC_GPIO1_IO05_GPIO1_IO5			0x19
		>;
	};
};

&lcdif {
	status = "okay";
};

&pwm1 {
	pinctrl-names = "default";
	pinctrl-0 = <&pinctrl_pwm1>;
	status = "okay";
};

&mipi_dsi {
	status = "okay";

	panel_ek79007: panel@0 {
		compatible = "ronbo,rb070d30";
		reg = <0>;
		vcc-lcd-supply = <&dummy_reg>;
		backlight = <&backlight_pwm>;
		status = "okay";
	};

	panel_vislcd_101hysx31p: panel@1 {
		compatible = "bananapi,lhr050h41", "ilitek,ili9881c";
		reg = <1>;
		power-supply = <&dummy_reg>;
		backlight = <&backlight_pwm>;
		status = "disabled";
	};

	panel_hdmi: port@1 {
		status = "disabled";

		mipi_dsi_hdmi_out: endpoint {
			remote-endpoint = <&lt8912_1_in>;
			attach-bridge;
		};
	};
};

&csi1_bridge {
	fsl,mipi-mode;
	status = "okay";

	port {
		csi1_ep: endpoint {
			remote-endpoint = <&csi1_mipi_ep>;
		};
	};
};

&mipi_csi_1 {
	#address-cells = <1>;
	#size-cells = <0>;
	status = "okay";

	port {
		mipi1_sensor_ep: endpoint@1 {
			remote-endpoint = <&ov5640_mipi1_ep>;
			data-lanes = <2>;
			csis-hs-settle = <13>;
			csis-clk-settle = <2>;
			csis-wclk;
		};

		csi1_mipi_ep: endpoint@2 {
			remote-endpoint = <&csi1_ep>;
		};
	};
};

&vpu_g1 {
	status = "okay";
};

&vpu_g2 {
	status = "okay";
};

&vpu_h1 {
	status = "okay";
};

&gpu {
	status = "okay";
};
